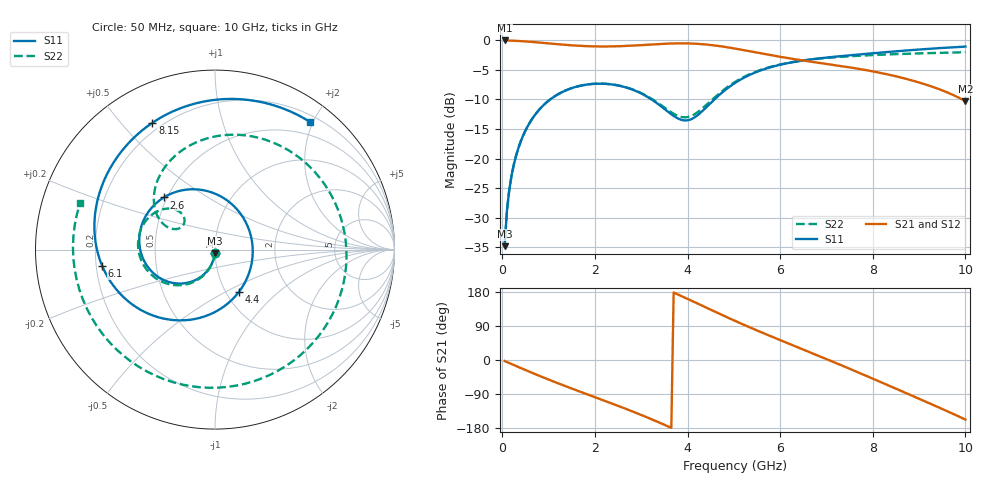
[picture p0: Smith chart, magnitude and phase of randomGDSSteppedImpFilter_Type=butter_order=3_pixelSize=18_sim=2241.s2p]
! freq	dB(S11)	phase(S11)	dB(S12)	phase(S12)
!  dB(S21)	phase(S21)	dB(S22)	phase(S22)
!S-par simulation data
#  GHz  S  DB  R 50
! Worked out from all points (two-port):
!   200 points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, 50 MHz to 10 GHz, reference 50 ohm
!   highest |S21| = 0.00 dB at 50 MHz (marker M1); lowest = -10.3 dB at 10 GHz (marker M2)
!   |S21| within 3 dB of the highest: start of sweep to 6.177 GHz
!   lowest |S11| = -34.8 dB at 50 MHz (marker M3), VSWR 1.04, Z = 49.9 - j1.81 ohm
!   |S11| at or under -10 dB: start of sweep to 1.033 GHz; 3.224 GHz to 4.579 GHz (1.355 GHz wide, 34.7 % of centre)
!   |S22| runs from -34.8 to -2.0 dB; largest |S21 - S12| = 0
!   S11 on the Smith chart (normalised r, x): 50 MHz: 1.00, -0.04; 2.6 GHz: 0.48, +0.33; 4.4 GHz: 1.15, -0.58; 6.1 GHz: 0.22, -0.07; 8.15 GHz: 0.16, +0.61; 10 GHz: 0.29, +1.96
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0.05  -34.84 -92.7  -0.00 -2.7  -0.00 -2.7  -34.84 -92.6
0.1  -28.83 -95.7  -0.01 -5.4  -0.01 -5.4  -28.83 -95.4
0.2  -22.88 -101.4  -0.04 -10.7  -0.04 -10.7  -22.88 -100.8
0.5  -15.26 -117.7  -0.17 -26.5  -0.17 -26.5  -15.26 -116.3
1.1  -9.62 -148.8  -0.57 -56.5  -0.57 -56.5  -9.62 -145.2
1.75  -7.57 179.0  -0.94 -86.8  -0.94 -86.8  -7.57 -173.6
2.6  -7.80 134.5  -0.95 -125.7  -0.95 -125.7  -7.78 153.5
3.4  -10.98 76.2  -0.60 -165.6  -0.60 -165.6  -10.80 133.1
3.9  -13.51 12.4  -0.49 167.0  -0.49 167.0  -13.00 141.4
4.4  -11.37 -60.2  -0.69 138.4  -0.69 138.4  -10.95 154.6
5.05  -7.08 -117.1  -1.41 101.9  -1.41 101.9  -6.91 138.9
5.55  -5.16 -146.2  -2.13 75.4  -2.13 75.4  -5.06 115.8
6.1  -3.94 -171.8  -2.90 47.5  -2.90 47.5  -3.90 86.3
6.7  -3.17 164.8  -3.64 17.6  -3.64 17.6  -3.20 50.3
7.45  -2.55 139.1  -4.50 -20.5  -4.50 -20.5  -2.71 0.1
7.8  -2.31 127.6  -4.95 -38.7  -4.95 -38.7  -2.56 -25.0
8.15  -2.07 116.2  -5.47 -57.1  -5.47 -57.1  -2.43 -50.9
8.35  -1.94 109.7  -5.80 -67.7  -5.80 -67.7  -2.36 -65.9
8.75  -1.69 96.4  -6.57 -88.9  -6.57 -88.9  -2.25 -96.3
9.1  -1.48 84.6  -7.36 -107.6  -7.36 -107.6  -2.17 -123.3
9.6  -1.22 67.4  -8.77 -134.7  -8.77 -134.7  -2.07 -163.6
10  -1.05 53.4  -10.29 -157.1  -10.29 -157.1  -1.99 161.1
